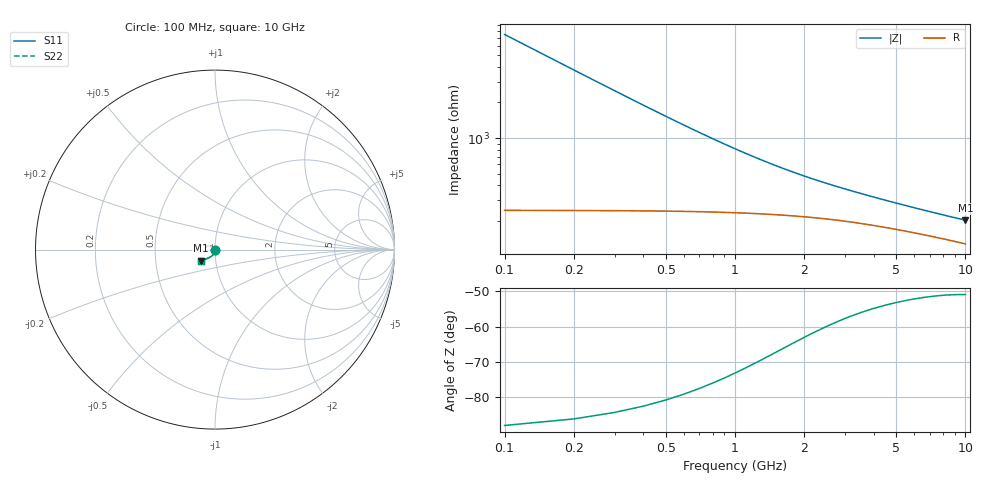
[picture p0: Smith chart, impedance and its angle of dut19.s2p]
! Touchstone file exported from HFSS 2024.1.0
!  File:  C:/UserFiles/LocalFiles/RDL_TSV_Batchsim/temp_TSV1_19_1778746890.aedt
!  Generated:  04:26:17 PM May 14, 2026
!  Design:  TSV1
!  Project:  temp_TSV1_19_1778746890
!  Setup:  Setup1
!  Solution:  Sweep
! Variables:
!  dtsv = 23.92um
!  hbump = 3um
!  htsv = 73.76um
!  lrdl = 252.1521522um
!  p = 40
!  p1 = 56.32um
!  t = 500um
!  trdl = 3um
!  wrdl = 24.89489489um
# GHz S MA R 50.000000
! Terminal data exported
! Port[1] = TSV22_T1
! Port[2] = TSV22_T2
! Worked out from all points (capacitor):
!   100 points, 100 MHz to 10 GHz, reference 50 ohm
!   read as one part in shunt: C = 213 fF near 100 MHz
!   lowest |Z| = 203 ohm at 10 GHz (marker M1)
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0.1  0.003073 -90.8  0.9998 -0.2  0.9998 -0.2  0.003073 -90.8
! Gamma 0 0 0 0
! Port Impedance 50 0 50 0
0.2  0.006127 -93.6  0.9994 -0.4  0.9994 -0.4  0.006127 -93.6
0.3  0.009147 -95.9  0.9989 -0.6  0.9989 -0.6  0.009147 -95.9
0.4  0.01212 -98.0  0.9981 -0.8  0.9981 -0.8  0.01212 -98.0
0.5  0.01502 -100.1  0.9971 -1.0  0.9971 -1.0  0.01502 -100.1
0.6  0.01785 -102.0  0.996 -1.2  0.996 -1.2  0.01785 -102.0
0.7  0.02058 -103.9  0.9947 -1.3  0.9947 -1.3  0.02058 -103.9
0.8  0.02322 -105.7  0.9934 -1.5  0.9934 -1.5  0.02322 -105.7
0.9  0.02576 -107.5  0.9919 -1.7  0.9919 -1.7  0.02576 -107.5
1.1  0.03052 -110.7  0.9889 -1.9  0.9889 -1.9  0.03052 -110.7
1.4  0.03688 -115.0  0.9843 -2.3  0.9843 -2.3  0.03688 -115.0
1.6  0.04063 -117.4  0.9813 -2.5  0.9813 -2.5  0.04063 -117.4
1.8  0.04404 -119.6  0.9784 -2.7  0.9784 -2.7  0.04404 -119.6
2.1  0.04859 -122.4  0.9743 -2.9  0.9743 -2.9  0.04859 -122.4
2.5  0.05382 -125.5  0.9693 -3.2  0.9693 -3.2  0.05382 -125.5
2.9  0.05834 -127.9  0.9648 -3.4  0.9648 -3.4  0.05834 -127.9
3.4  0.06326 -130.3  0.9599 -3.7  0.9599 -3.7  0.06326 -130.3
4.2  0.06997 -133.1  0.9532 -4.1  0.9532 -4.1  0.06997 -133.1
5.1  0.07636 -135.4  0.9469 -4.5  0.9469 -4.5  0.07636 -135.4
6.7  0.08566 -138.2  0.9379 -5.1  0.9379 -5.1  0.08566 -138.2
8.4  0.09355 -140.2  0.9304 -5.7  0.9304 -5.7  0.09355 -140.2
10  0.09973 -141.5  0.9247 -6.3  0.9247 -6.3  0.09973 -141.5
